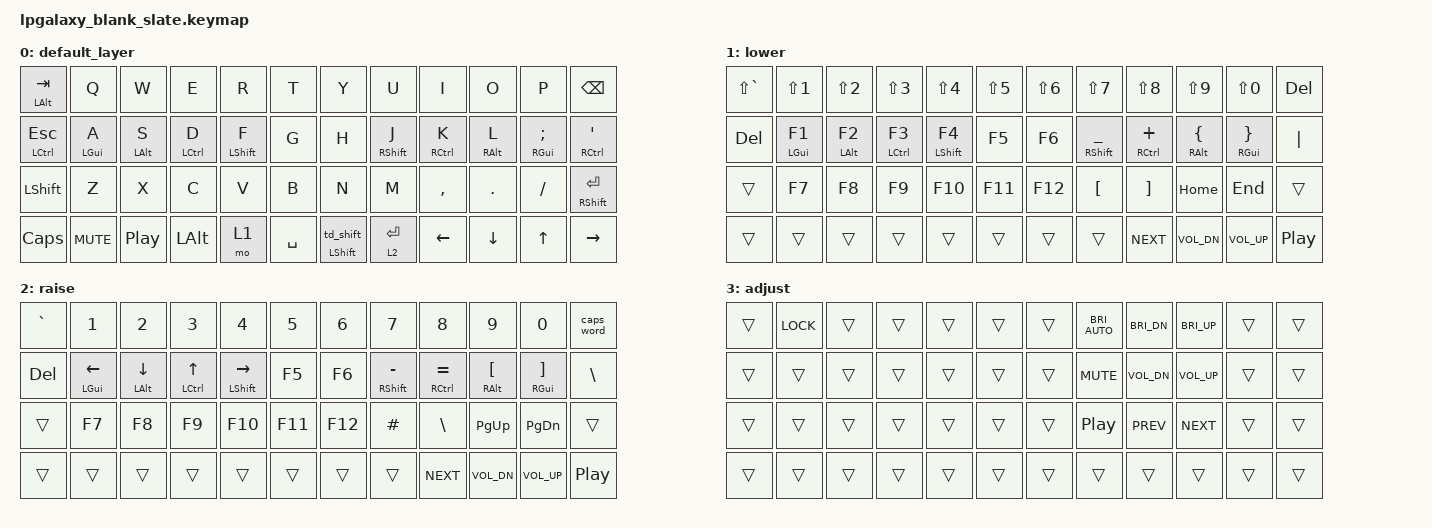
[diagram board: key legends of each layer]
#include <behaviors.dtsi>
#include <dt-bindings/zmk/keys.h>
#include <dt-bindings/zmk/bt.h>
#include <dt-bindings/zmk/outputs.h>

&sk {
  release-after-ms = <900>;
  quick-release;
};

/ {
    chosen {
       zmk,physical-layout = &layout_ortho_4x12_all1u;
    };

    behaviors {

      ret_lt: hold_tap_1 {
        compatible = "zmk,behavior-hold-tap";
        #binding-cells = <2>;
        tapping-term-ms = <300>;
        quick-tap-ms = <200>;
        flavor = "tap-unless-interrupted";
        bindings = <&mo>, <&kp>;
      };

      // tap: sticky shift; double tap: caps_word
      td_shift: tap_dance_0 {
        compatible = "zmk,behavior-tap-dance";
        #binding-cells = <0>;
        tapping-term-ms = <300>;
        bindings = <&sk LSHFT>, <&caps_word>;
      };
        
      // hold: shift, tap: td_shift 
      // Why the need for a dummy parameter at the call site?
      // https://github.com/zmkfirmware/zmk/issues/1643
      shft: hold_tap {
        compatible = "zmk,behavior-hold-tap";
        #binding-cells = <2>;
        tapping-term-ms = <200>;
        quick-tap-ms = <0>;
        flavor = "tap-unless-interrupted";
        bindings = <&kp>, <&td_shift>;
      };

      hm: homerow_mods {
        compatible = "zmk,behavior-hold-tap";
        #binding-cells = <2>;
        flavor = "balanced";
        tapping-term-ms = <250>;
        quick-tap-ms = <200>;
        bindings = <&kp>, <&kp>;
        hold-trigger-on-release;
        require-prior-idle-ms = <120>;
      };
    };

    cond_layers {
      compatible = "zmk,conditional-layers";
      tri {
          if-layers = <1 2>;
          then-layer = <3>;
      };
    };
    
    keymap {
        compatible = "zmk,keymap";

        default_layer {
          bindings = <
            // 0           1          2          3           4            5        | 6             7             8           9          10            11
            &mt LALT  TAB  &kp Q      &kp W      &kp E       &kp R        &kp T      &kp Y         &kp U         &kp I       &kp O      &kp P         &kp BSPC
            // 12          13         14         15          16           17       | 18            19            20          21         22            23
            &mt LCTRL ESC  &hm LGUI A &hm LALT S &hm LCTRL D &hm LSHFT F  &kp G      &kp H         &hm RSHFT J   &hm RCTRL K &hm RALT L &hm RGUI SEMI &mt RCTRL SQT
            // 24          25         26         27          28           29       | 30            31            32          33         34            35
            &kp LSHFT      &kp Z      &kp X      &kp C       &kp V        &kp B      &kp N         &kp M         &kp COMMA   &kp DOT    &kp FSLH      &mt RSHFT RET
            // 36          37         38         39          40           41       | 42            43            44          45         46            47
            &kp CAPS       &kp C_MUTE &kp C_PP   &kp LALT    &mo 1        &kp SPACE  &shft LSHFT 0 &ret_lt 2 RET &kp LEFT    &kp DOWN   &kp UP        &kp RIGHT
          >;
        };

        lower {
          bindings = <
            &kp LS(GRAVE) &kp LS(N1)   &kp LS(N2)   &kp LS(N3)   &kp LS(N4)   &kp LS(N5) &kp LS(N6) &kp LS(N7)      &kp LS(N8)     &kp LS(N9)    &kp LS(N0)    &kp DEL
            &kp DEL       &hm LGUI F1  &hm LALT F2  &hm LCTRL F3 &hm LSHFT F4 &kp F5     &kp F6     &hm RSHFT UNDER &hm RCTRL PLUS &hm RALT LBRC &hm RGUI RBRC &kp PIPE    
            &trans        &kp F7       &kp F8       &kp F9       &kp F10      &kp F11    &kp F12    &kp LBKT        &kp RBKT       &kp HOME      &kp END       &trans
            &trans        &trans       &trans       &trans       &trans       &trans     &trans     &trans          &kp C_NEXT     &kp C_VOL_DN  &kp C_VOL_UP  &kp C_PP
          >;
        };

        raise {
          bindings = <
              &kp GRAVE &kp N1        &kp N2             &kp N3           &kp N4              &kp N5  &kp N6  &kp N7              &kp N8              &kp N9            &kp N0        &caps_word
              &kp DEL   &hm LGUI LEFT &hm LALT DOWN      &hm LCTRL UP     &hm LSHFT RIGHT     &kp F5  &kp F6  &hm RSHFT MINUS     &hm RCTRL EQUAL     &hm RALT LBKT     &hm RGUI RBKT &kp BSLH    
              &trans    &kp F7        &kp F8             &kp F9           &kp F10             &kp F11 &kp F12 &kp HASH            &kp BSLH            &kp PG_UP         &kp PG_DN     &trans
              &trans    &trans        &trans             &trans           &trans              &trans  &trans  &trans              &kp C_NEXT          &kp C_VOL_DN      &kp C_VOL_UP  &kp C_PP
          >;
        };

        adjust {
          bindings = <
              &trans    &kp K_LOCK &trans   &trans &trans    &trans  &trans  &kp C_BRI_AUTO &kp C_BRI_DN &kp C_BRI_UP   &trans  &trans
              &trans    &trans     &trans   &trans &trans    &trans  &trans  &kp C_MUTE     &kp C_VOL_DN &kp C_VOL_UP   &trans  &trans
              &trans    &trans     &trans   &trans &trans    &trans  &trans  &kp C_PP       &kp C_PREV   &kp C_NEXT     &trans  &trans
              &trans    &trans     &trans   &trans &trans    &trans  &trans  &trans         &trans       &trans         &trans  &trans
          >;
        };

    };
};
  
/* vim: set ft=c tw=146: nowrap: */
